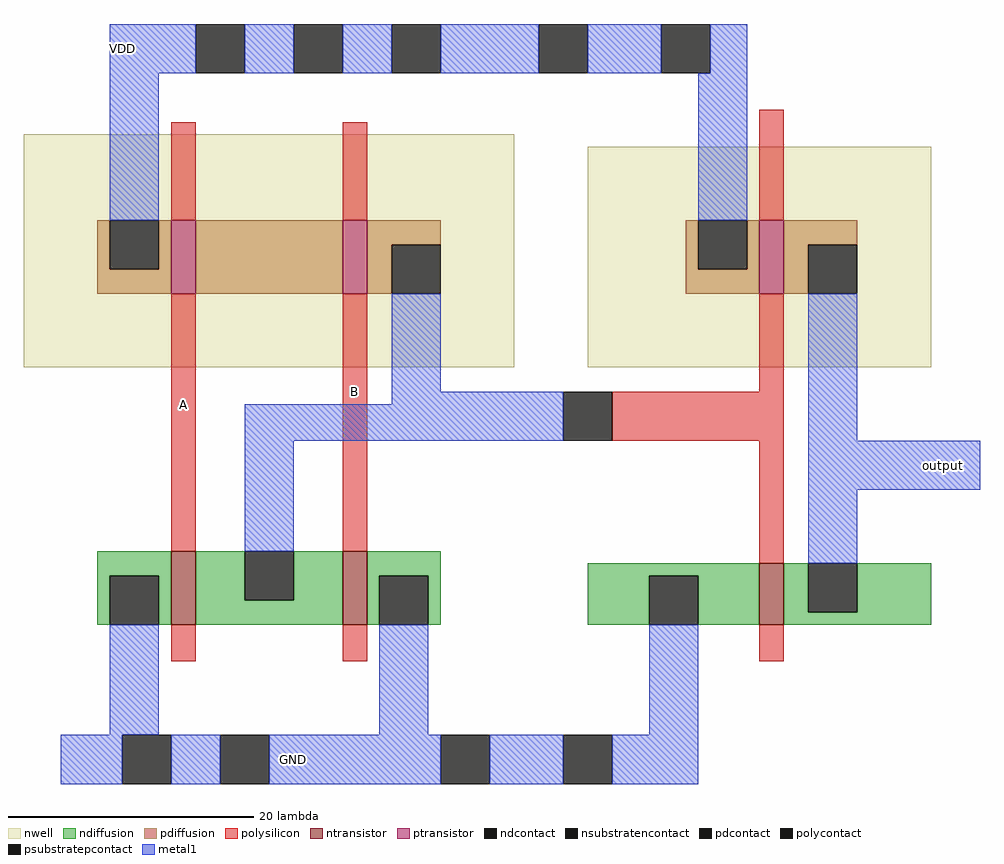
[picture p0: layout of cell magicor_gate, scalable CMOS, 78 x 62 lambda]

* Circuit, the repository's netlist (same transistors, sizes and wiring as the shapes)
* SPICE3 file created from magicor_gate.ext - technology: scmos


.include 22nm_MGK.pm
.param SUPPLY=1
.param LAMBDA=22n
.param width_N={2*LAMBDA}
.param width_P={2*LAMBDA}
.global gnd vdd 

.option scale=0.01u


v_dd vdd gnd  'SUPPLY'
va A gnd pulse 0 1 0 100p 100p 10n 20n
vb B gnd pulse 0 1 0 100p 100p 20n 40n

M1000 output a_n9_n10# GND Gnd nmos w=5 l=2
+  ad=60 pd=34 as=142 ps=86
M1001 output a_n9_n10# VDD w_23_11# pmos w=6 l=2
+  ad=36 pd=24 as=72 ps=48
M1002 a_n9_n10# B a_n9_17# w_n23_11# pmos w=6 l=2
+  ad=36 pd=24 as=72 ps=36
M1003 GND B a_n9_n10# Gnd nmos w=6 l=2
+  ad=0 pd=0 as=72 ps=36
M1004 a_n9_17# A VDD w_n23_11# pmos w=6 l=2
+  ad=0 pd=0 as=0 ps=0
M1005 a_n9_n10# A GND Gnd nmos w=6 l=2
+  ad=0 pd=0 as=0 ps=0


.control
tran 1n 120n
plot  A B+1 output+2
.endc
.end

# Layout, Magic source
magic
tech scmos
<< nwell >>
rect -23 11 17 30
rect 23 11 51 29
<< ntransistor >>
rect -11 -10 -9 -4
rect 3 -10 5 -4
rect 37 -10 39 -5
<< ptransistor >>
rect -11 17 -9 23
rect 3 17 5 23
rect 37 17 39 23
<< ndiffusion >>
rect -17 -6 -11 -4
rect -17 -10 -16 -6
rect -12 -10 -11 -6
rect -9 -8 -5 -4
rect -1 -8 3 -4
rect -9 -10 3 -8
rect 5 -6 11 -4
rect 5 -10 6 -6
rect 10 -10 11 -6
rect 23 -6 37 -5
rect 23 -10 28 -6
rect 32 -10 37 -6
rect 39 -9 41 -5
rect 45 -9 51 -5
rect 39 -10 51 -9
<< pdiffusion >>
rect -17 19 -16 23
rect -12 19 -11 23
rect -17 17 -11 19
rect -9 17 3 23
rect 5 21 11 23
rect 5 17 7 21
rect 31 19 32 23
rect 36 19 37 23
rect 31 17 37 19
rect 39 21 45 23
rect 39 17 41 21
<< ndcontact >>
rect -16 -10 -12 -6
rect -5 -8 -1 -4
rect 6 -10 10 -6
rect 28 -10 32 -6
rect 41 -9 45 -5
<< pdcontact >>
rect -16 19 -12 23
rect 7 17 11 21
rect 32 19 36 23
rect 41 17 45 21
<< psubstratepcontact >>
rect -15 -23 -11 -19
rect -7 -23 -3 -19
rect 11 -23 15 -19
rect 21 -23 25 -19
<< nsubstratencontact >>
rect -9 35 -5 39
rect -1 35 3 39
rect 7 35 11 39
rect 19 35 23 39
rect 29 35 33 39
<< polysilicon >>
rect -11 23 -9 31
rect 3 23 5 31
rect 37 23 39 32
rect -11 -4 -9 17
rect 3 -4 5 17
rect 37 9 39 17
rect 25 5 39 9
rect 37 -5 39 5
rect -11 -13 -9 -10
rect 3 -13 5 -10
rect 37 -13 39 -10
<< polycontact >>
rect 21 5 25 9
<< metal1 >>
rect -16 35 -9 39
rect -5 35 -1 39
rect 3 35 7 39
rect 11 35 19 39
rect 23 35 29 39
rect 33 35 36 39
rect -16 23 -12 35
rect 32 23 36 35
rect 7 9 11 17
rect 7 8 21 9
rect -5 5 21 8
rect 41 5 45 17
rect -5 -4 -1 5
rect 41 1 55 5
rect 41 -5 45 1
rect -16 -19 -12 -10
rect 6 -19 10 -10
rect 28 -19 32 -10
rect -20 -23 -15 -19
rect -11 -23 -7 -19
rect -3 -23 11 -19
rect 15 -23 21 -19
rect 25 -23 32 -19
<< labels >>
rlabel metal1 -1 -21 -1 -21 1 GND
rlabel metal1 -15 37 -15 37 5 VDD
rlabel polysilicon -10 8 -10 8 1 A
rlabel polysilicon 4 9 4 9 1 B
rlabel metal1 52 3 52 3 7 output
<< end >>
